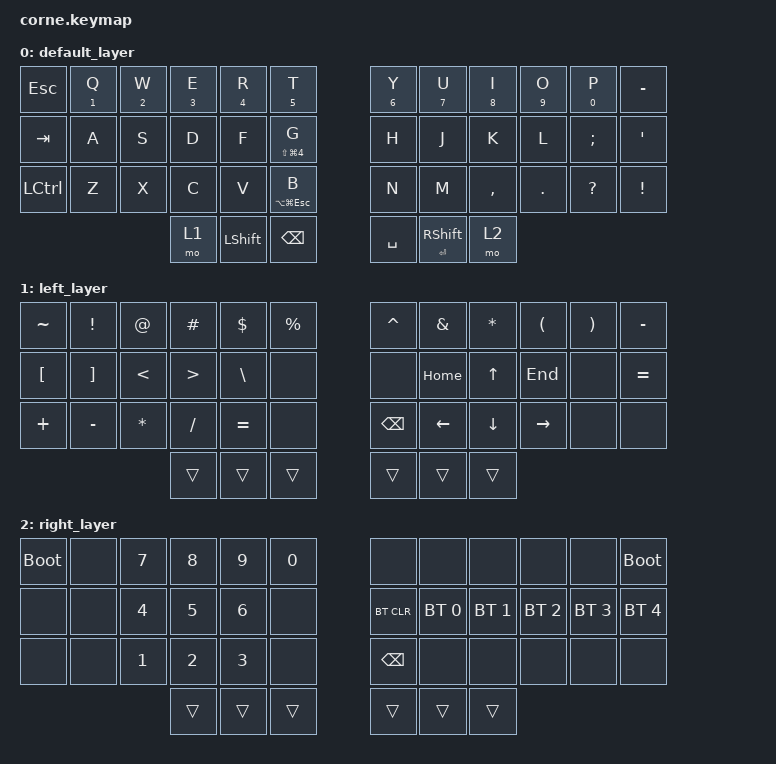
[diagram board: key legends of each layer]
/*
 * Copyright (c) 2020 The ZMK Contributors
 *
 * SPDX-License-Identifier: MIT
 */

#include <behaviors.dtsi>
#include <dt-bindings/zmk/keys.h>
#include <dt-bindings/zmk/bt.h>
// -----------------------------------------------------------------------------------------
// |  0 |  1|  2|  3|  4|  5|     | 6|  7 |  8|  9|  10| 11 |   Key numbers
// | 12 | 13| 14| 15| 16| 17|     |18| 19 | 20| 21|  22| 23 |
// | 24 | 25| 26| 27| 28| 29|     |30| 31 | 32| 33|  34| 35 |
//               | 36| 37| 38|   | 39 | 40  | 41 |

&mt {
   flavor = "tap-preferred";
   tapping-term-ms = <500>;
};

/ {
combos {
        compatible = "zmk,combos";
	        
         combo_tab {
           timeout-ms = <50>;
           key-positions = <15 16>;
           bindings = <&kp TAB>;
         };
        
            // combo_left-control {
            //   timeout-ms = <50>;
            //   key-positions = <20 21>;
           //    bindings = <&kp LCTRL>;
       // };
               
           	    combo_right-command {
            timeout-ms = <50>;
            key-positions = <19 20>;
            bindings = <&kp RCMD>;
        };
    
        
    };

        keymap {
                compatible = "zmk,keymap";

                default_layer {
// -----------------------------------------------------------------------------------------
// | ESC |  Q/1|  W/2|  E/3|  R/4|  T/5|      | Y/6|  U/7 |  I/8|  O/9|  P/0| MINUS |     * top row is tap/hold for numbers
// | TAB |  A  |  S  |  D  |  F  |  G  |      | H  |  J   |  K  |  L  |  ;  |   '   |
// | CTRL|  Z  |  X  |  C  |  V  |  B  |      | N  |  M   |  ,  |  .  |  /  |  EXCL |
//               |Left Layer| SHFT | BSPC |   | SPACE | RET  |Right Layer|
                        bindings = <
     &kp ESC    &mt N1 Q  &mt N2 W  &mt N3 E &mt N4 R  &mt N5 T               &mt N6 Y &mt N7 U &mt N8 I  &mt N9 O &mt N0 P   &kp MINUS
     &kp TAB    &kp A     &kp S     &kp D    &kp F     &mt LS(LG(N4)) G       &kp H    &kp J    &kp K     &kp L    &kp SEMI   &kp SQT
     &kp LCTRL  &kp Z     &kp X     &kp C    &kp V     &mt LA(LG(ESC)) B      &kp N    &kp M    &kp COMMA &kp DOT  &kp QMARK   &kp EXCL
                               &mo 1 &kp LSHFT &kp BSPC                         &kp SPACE  &mt RET RSHFT &mo 2
                        >;
                };
		
                left_layer {
// -----------------------------------------------------------------------------------------
// |  ~   |  !  |  @  |  #  |  $  |  %  |      |  ^  |  &  |  *  |  (   |  )  | - |
// |  [   |  ]  |  <  |  >  |  \  |     |      |     | HOME|  UP |  END |     | = |
// |   +  |  -  |  *  |  /  |  =  |     |      |BCSP | LEFT| DOWN| RIGHT|     |   |
//                   | TRNS | TRNS | TRNS |   | TRNS| TRNS | TRNS |
                        bindings = <
   &kp TILDE  &kp EXCL   &kp AT    &kp HASH   &kp DLLR   &kp PRCNT	     &kp CARET  &kp AMPS  &kp ASTRK  &kp LPAR   &kp RPAR  &kp MINUS
   &kp LBKT   &kp RBKT   &kp LT    &kp GT     &kp BSLH   &none               &none      &kp HOME  &kp UP     &kp END    &none     &kp EQUAL
   &kp PLUS   &kp MINUS  &kp STAR  &kp FSLH   &kp EQUAL  &none               &kp BSPC   &kp LEFT  &kp DOWN   &kp RIGHT  &none     &none
                          	                &trans  &trans  &trans                      &trans  &trans   &trans
                        >;
                };

                right_layer {
// -----------------------------------------------------------------------------------------
// | BTLDR|     |   7 |  8  |  9  |  0  |         |     |     |     |     |     | BTLDR|
// |      |     |   4 |  5  |  6  |     |         |BTCLR| BT0 | BT1 | BT2 | BT3 | BT4  |
// |      |     |   1 |   2 |  3  |     |         |BCSP |     |     |     |     |      |
//                 | TRNS |TRNS | TRNS |             | TRNS | TRNS | TRNS|
                        bindings = <
   &bootloader &none   &kp N7   &kp N8   &kp N9  &kp N0       &none       &none         &none         &none        &none        &bootloader
   &none       &none   &kp N4   &kp N5   &kp N6  &none        &bt BT_CLR  &bt BT_SEL 0  &bt BT_SEL 1  &bt BT_SEL 2 &bt BT_SEL 3 &bt BT_SEL 4
   &none       &none   &kp N1   &kp N2   &kp N3  &none        &kp BSPC    &none         &none         &none        &none        &none
                    	            &trans  &trans  &trans              &trans  &trans  &trans
                        >;
                };
        };
};
